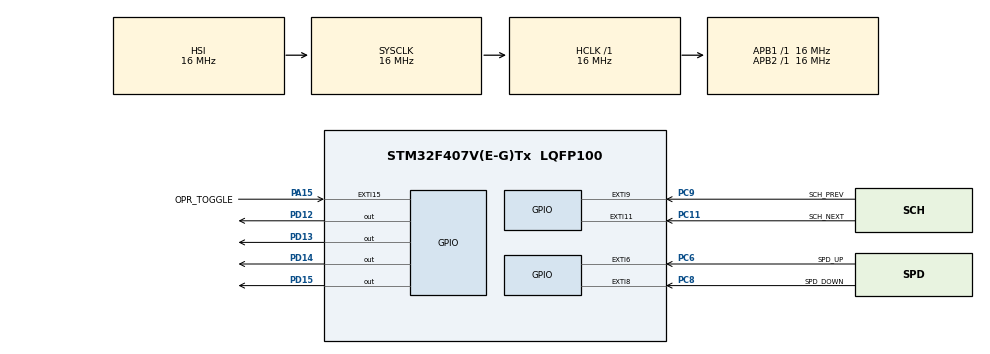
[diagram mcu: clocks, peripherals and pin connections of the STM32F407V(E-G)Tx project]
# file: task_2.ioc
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Mcu.Family=STM32F4
Mcu.Name=STM32F407V(E-G)Tx
Mcu.Package=LQFP100
NVIC.EXTI15_10_IRQn=true\:0\:0\:false\:false\:true\:true\:true\:true
NVIC.EXTI9_5_IRQn=true\:0\:0\:false\:false\:true\:true\:true\:true
NVIC.PriorityGroup=NVIC_PRIORITYGROUP_4
PA15.GPIO_Label=OPR_TOGGLE
PA15.GPIO_PuPd=GPIO_PULLUP
PA15.Signal=GPXTI15
PC11.GPIO_Label=SCH_NEXT
PC11.GPIO_PuPd=GPIO_PULLUP
PC11.Signal=GPXTI11
PC6.GPIO_Label=SPD_UP
PC6.GPIO_PuPd=GPIO_PULLUP
PC6.Signal=GPXTI6
PC8.GPIO_Label=SPD_DOWN
PC8.GPIO_PuPd=GPIO_PULLUP
PC8.Signal=GPXTI8
PC9.GPIO_Label=SCH_PREV
PC9.GPIO_PuPd=GPIO_PULLUP
PC9.Signal=GPXTI9
PD12.Signal=GPIO_Output
PD13.Signal=GPIO_Output
PD14.Signal=GPIO_Output
PD15.Signal=GPIO_Output
ProjectManager.HeapSize=0x200
ProjectManager.StackSize=0x400
ProjectManager.TargetToolchain=STM32CubeIDE
RCC.AHBFreq_Value=16000000
RCC.APB1Freq_Value=16000000
RCC.APB2Freq_Value=16000000
RCC.CortexFreq_Value=16000000
RCC.HSE_VALUE=25000000
RCC.HSI_VALUE=16000000
RCC.LSE_VALUE=32768
RCC.SYSCLKFreq_VALUE=16000000
RCC.VCOOutputFreq_Value=192000000
board=custom

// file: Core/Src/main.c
/* USER CODE BEGIN Header */
/**
  ******************************************************************************
  * @file           : main.c
  * @brief          : Main program body
  ******************************************************************************
  * @attention
  *
  * Copyright (c) 2023 STMicroelectronics.
  * All rights reserved.
  *
  * This software is licensed under terms that can be found in the LICENSE file
  * in the root directory of this software component.
  * If no LICENSE file comes with this software, it is provided AS-IS.
  *
  ******************************************************************************
  */
/* USER CODE END Header */
#include "main.h"

/* USER CODE BEGIN Includes */
#include "UsrSrc/led_driver.h"
#include "UsrSrc/buttons.h"

/* USER CODE END Includes */

void SystemClock_Config(void);
static void MX_GPIO_Init(void);

/* USER CODE BEGIN 0 */
void HAL_GPIO_EXTI_Callback (uint16_t GPIO_Pin) {
	switch (GPIO_Pin) {
	case SWT1:
		blink_mode_next();
		break;
	case SWT3:
		blink_mode_prev();
		break;

	case SWT4:
		blink_speed_up();
		break;
	case SWT5:
		blink_speed_down();
		break;

	case SWT2:
		toggle_operation();
		break;

	default:
		// Unknown input
		break;
	}
}
/* USER CODE END 0 */

int main(void)
{

  /* MCU Configuration--------------------------------------------------------*/

  /* Reset of all peripherals, Initializes the Flash interface and the Systick. */
  HAL_Init();

  /* Configure the system clock */
  SystemClock_Config();

  /* Initialize all configured peripherals */
  MX_GPIO_Init();

  /* Infinite loop */
  /* USER CODE BEGIN WHILE */
  while (1)
  {
	  blink_led();
    /* USER CODE END WHILE */

  }
}

void SystemClock_Config(void)
{
  RCC_OscInitTypeDef RCC_OscInitStruct = {0};
  RCC_ClkInitTypeDef RCC_ClkInitStruct = {0};

  /** Configure the main internal regulator output voltage
  */
  __HAL_RCC_PWR_CLK_ENABLE();
  __HAL_PWR_VOLTAGESCALING_CONFIG(PWR_REGULATOR_VOLTAGE_SCALE1);

  /** Initializes the RCC Oscillators according to the specified parameters
  * in the RCC_OscInitTypeDef structure.
  */
  RCC_OscInitStruct.OscillatorType = RCC_OSCILLATORTYPE_HSI;
  RCC_OscInitStruct.HSIState = RCC_HSI_ON;
  RCC_OscInitStruct.HSICalibrationValue = RCC_HSICALIBRATION_DEFAULT;
  RCC_OscInitStruct.PLL.PLLState = RCC_PLL_NONE;
  if (HAL_RCC_OscConfig(&RCC_OscInitStruct) != HAL_OK)
  {
    Error_Handler();
  }

  /** Initializes the CPU, AHB and APB buses clocks
  */
  RCC_ClkInitStruct.ClockType = RCC_CLOCKTYPE_HCLK|RCC_CLOCKTYPE_SYSCLK
                              |RCC_CLOCKTYPE_PCLK1|RCC_CLOCKTYPE_PCLK2;
  RCC_ClkInitStruct.SYSCLKSource = RCC_SYSCLKSOURCE_HSI;
  RCC_ClkInitStruct.AHBCLKDivider = RCC_SYSCLK_DIV1;
  RCC_ClkInitStruct.APB1CLKDivider = RCC_HCLK_DIV1;
  RCC_ClkInitStruct.APB2CLKDivider = RCC_HCLK_DIV1;

  if (HAL_RCC_ClockConfig(&RCC_ClkInitStruct, FLASH_LATENCY_0) != HAL_OK)
  {
    Error_Handler();
  }
}

static void MX_GPIO_Init(void)
{
  GPIO_InitTypeDef GPIO_InitStruct = {0};

  /* GPIO Ports Clock Enable */
  __HAL_RCC_GPIOD_CLK_ENABLE();
  __HAL_RCC_GPIOC_CLK_ENABLE();
  __HAL_RCC_GPIOA_CLK_ENABLE();

  /*Configure GPIO pin Output Level */
  HAL_GPIO_WritePin(GPIOD, GPIO_PIN_12|GPIO_PIN_13|GPIO_PIN_14|GPIO_PIN_15, GPIO_PIN_RESET);

  /*Configure GPIO pins : PD12 PD13 PD14 PD15 */
  GPIO_InitStruct.Pin = GPIO_PIN_12|GPIO_PIN_13|GPIO_PIN_14|GPIO_PIN_15;
  GPIO_InitStruct.Mode = GPIO_MODE_OUTPUT_PP;
  GPIO_InitStruct.Pull = GPIO_NOPULL;
  GPIO_InitStruct.Speed = GPIO_SPEED_FREQ_LOW;
  HAL_GPIO_Init(GPIOD, &GPIO_InitStruct);

  /*Configure GPIO pins : SPD_UP_Pin SPD_DOWN_Pin SCH_PREV_Pin SCH_NEXT_Pin */
  GPIO_InitStruct.Pin = SPD_UP_Pin|SPD_DOWN_Pin|SCH_PREV_Pin|SCH_NEXT_Pin;
  GPIO_InitStruct.Mode = GPIO_MODE_IT_RISING;
  GPIO_InitStruct.Pull = GPIO_PULLUP;
  HAL_GPIO_Init(GPIOC, &GPIO_InitStruct);

  /*Configure GPIO pin : OPR_TOGGLE_Pin */
  GPIO_InitStruct.Pin = OPR_TOGGLE_Pin;
  GPIO_InitStruct.Mode = GPIO_MODE_IT_RISING;
  GPIO_InitStruct.Pull = GPIO_PULLUP;
  HAL_GPIO_Init(OPR_TOGGLE_GPIO_Port, &GPIO_InitStruct);

  /* EXTI interrupt init*/
  HAL_NVIC_SetPriority(EXTI9_5_IRQn, 0, 0);
  HAL_NVIC_EnableIRQ(EXTI9_5_IRQn);

  HAL_NVIC_SetPriority(EXTI15_10_IRQn, 0, 0);
  HAL_NVIC_EnableIRQ(EXTI15_10_IRQn);

}

void Error_Handler(void)
{
  __disable_irq();
  while (1)
  {
  }
}
